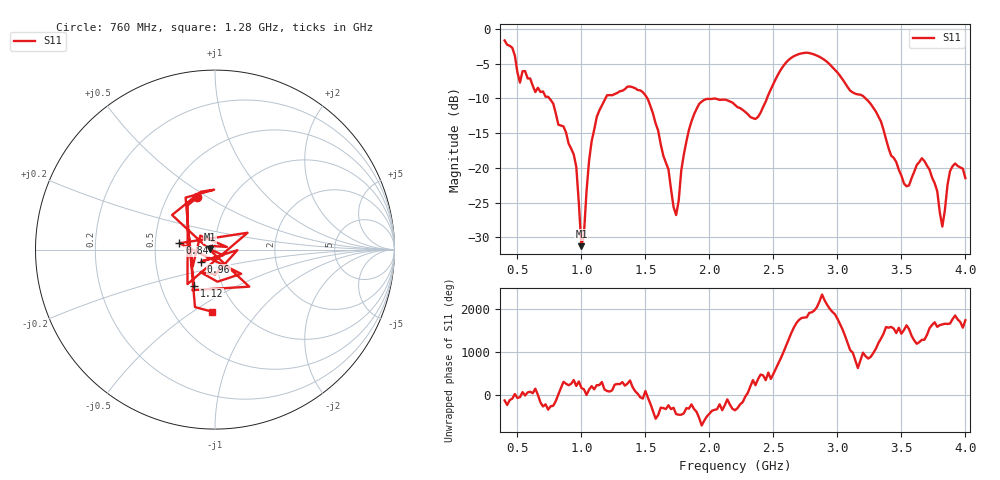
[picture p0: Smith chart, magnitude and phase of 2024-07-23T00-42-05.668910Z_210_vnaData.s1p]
!Created with skrf (http://scikit-rf.org).
# Hz S RI R 50.0
!freq ReS11 ImS11
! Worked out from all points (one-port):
!   181 points, 400 MHz to 4 GHz, reference 50 ohm
!   lowest |S11| = -31.3 dB at 1 GHz (marker M1), VSWR 1.06, Z = 47.3 + j0.222 ohm
!   |S11| at or under -10 dB: 749.6 MHz to 1.187 GHz (437.7 MHz wide, 45.2 % of centre); 1.515 GHz to 2.45 GHz (935 MHz wide, 47.2 % of centre); 3.219 GHz to end of sweep
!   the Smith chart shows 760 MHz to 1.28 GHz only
!   S11 on the Smith chart (normalised r, x): 760 MHz: 0.70, +0.45; 840 MHz: 0.67, +0.05; 960 MHz: 0.85, -0.11; 1.12 GHz: 0.73, -0.31; 1.28 GHz: 0.76, -0.60
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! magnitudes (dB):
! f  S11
! 400 MHz  -1.7
! 520 MHz  -7.7
! 760 MHz  -10.2
! 840 MHz  -13.9
! 860 MHz  -14.0
! 960 MHz  -19.9
! 1 GHz  -31.3
! 1.06 GHz  -18.9
! 1.12 GHz  -12.7
! 1.28 GHz  -9.2
! 1.3 GHz  -9.0
! 1.52 GHz  -10.2
! 1.68 GHz  -20.2
! 1.72 GHz  -25.6
! 1.76 GHz  -24.7
! 1.82 GHz  -16.2
! 1.92 GHz  -10.8
! 2.2 GHz  -10.9
! 2.38 GHz  -12.7
! 2.66 GHz  -3.9
! 3.1 GHz  -8.9
! 3.3 GHz  -11.9
! 3.56 GHz  -22.5
! 3.68 GHz  -19.0
! 3.78 GHz  -23.4
! 3.82 GHz  -28.4
! 3.88 GHz  -20.5
! 4 GHz  -21.5
